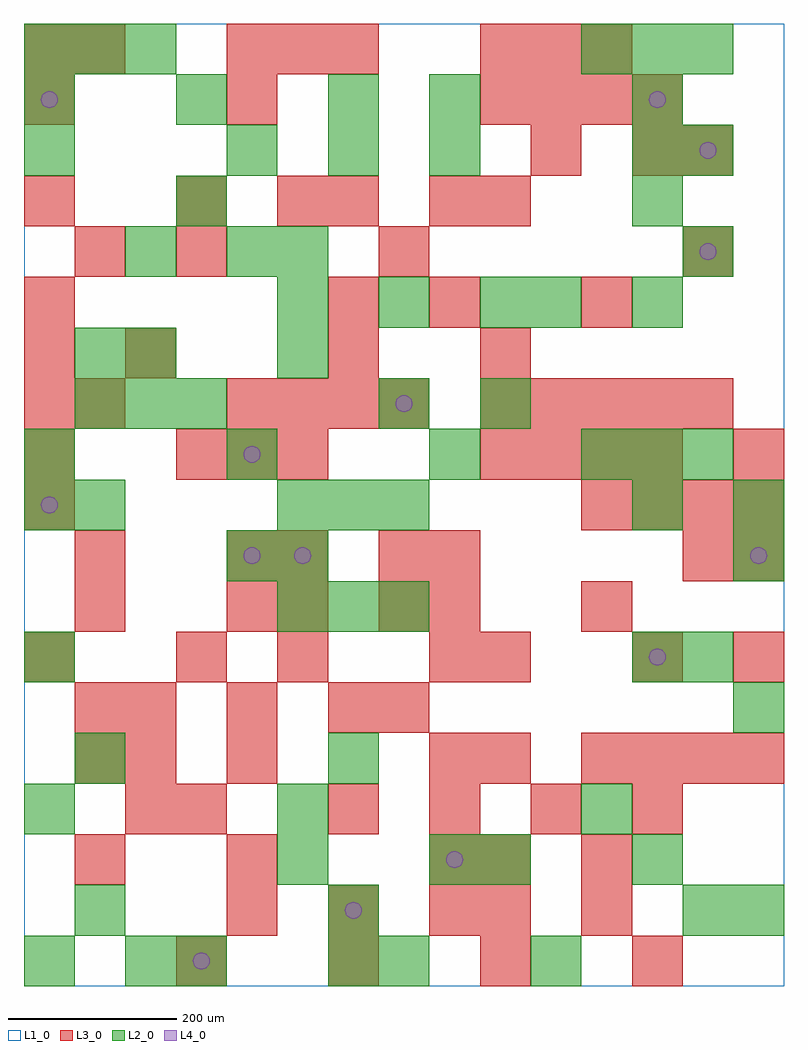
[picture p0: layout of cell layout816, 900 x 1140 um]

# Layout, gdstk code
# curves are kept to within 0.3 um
import gdstk
lib = gdstk.Library(unit=1e-6, precision=1e-09)
def R(c, l, rs):  # rectangles x0, y0, x1, y1
    for r in rs: c.add(gdstk.rectangle(r[:2], r[2:], *l))
def A(c, l, x, y, w, h, nx, ny, dx, dy):  # array of equal rectangles
    R(c, l, [(x+i*dx, y+j*dy, x+i*dx+w, y+j*dy+h) for i in range(nx) for j in range(ny)])
def P(c, l, *ps):  # polygons
    for p in ps: c.add(gdstk.Polygon(p, *l))
L1_0 = (1, 0)
L2_0 = (2, 0)
L3_0 = (3, 0)
L4_0 = (4, 0)

layout816 = lib.new_cell('layout816')
R(layout816, L1_0, [(0,0,900,1140)])
A(layout816, L2_0, 0, 0, 60, 60, 1, 4, 0, 180)
A(layout816, L2_0, 300, 420, 60, 60, 3, 2, 60, 120)
A(layout816, L2_0, 0, 600, 60, 60, 3, 1, 240, 0)
A(layout816, L2_0, 660, 600, 60, 60, 3, 2, 60, 480)
A(layout816, L2_0, 60, 660, 60, 60, 3, 1, 60, 0)
A(layout816, L2_0, 300, 780, 60, 60, 3, 1, 120, 0)
A(layout816, L2_0, 720, 900, 60, 60, 1, 3, 0, 60)
A(layout816, L2_0, 240, 960, 60, 60, 3, 1, 120, 0)
A(layout816, L2_0, 0, 1020, 60, 60, 3, 1, 180, 0)
A(layout816, L2_0, 0, 1080, 60, 60, 3, 1, 60, 0)
R(layout816, L2_0, [(120,0,180,60), (180,0,240,60), (360,0,420,60), (420,0,480,60), (600,0,660,60), (60,60,120,120), (360,60,420,120), (780,60,840,120), (840,60,900,120), (300,120,360,180), (480,120,540,180), (540,120,600,180), (720,120,780,180), (300,180,360,240), (660,180,720,240), (60,240,120,300), (360,240,420,300), (840,300,900,360), (720,360,780,420), (780,360,840,420), (240,480,300,540), (300,480,360,540), (840,480,900,540), (60,540,120,600), (720,540,780,600), (840,540,900,600), (420,660,480,720), (540,660,600,720), (60,720,120,780), (120,720,180,780), (300,720,360,780), (600,780,660,840), (720,780,780,840), (120,840,180,900), (240,840,300,900), (300,840,360,900), (780,840,840,900), (180,900,240,960), (0,960,60,1020), (780,960,840,1020), (480,1020,540,1080)])
A(layout816, L3_0, 180, 0, 60, 60, 4, 1, 180, 0)
A(layout816, L3_0, 240, 60, 60, 60, 3, 1, 120, 0)
A(layout816, L3_0, 480, 120, 60, 60, 1, 3, 0, 120)
A(layout816, L3_0, 540, 120, 60, 60, 1, 3, 0, 120)
A(layout816, L3_0, 360, 180, 60, 60, 4, 1, 120, 0)
A(layout816, L3_0, 660, 240, 60, 60, 4, 2, 60, 300)
A(layout816, L3_0, 120, 300, 60, 60, 3, 1, 120, 0)
A(layout816, L3_0, 300, 360, 60, 60, 1, 3, 0, 60)
A(layout816, L3_0, 840, 360, 60, 60, 1, 3, 0, 120)
A(layout816, L3_0, 60, 480, 60, 60, 1, 3, 0, 180)
A(layout816, L3_0, 0, 540, 60, 60, 1, 5, 0, 60)
A(layout816, L3_0, 180, 600, 60, 60, 3, 1, 60, 0)
A(layout816, L3_0, 540, 600, 60, 60, 4, 2, 60, 420)
A(layout816, L3_0, 240, 660, 60, 60, 4, 1, 60, 0)
A(layout816, L3_0, 540, 660, 60, 60, 5, 1, 60, 0)
A(layout816, L3_0, 240, 1080, 60, 60, 3, 1, 60, 0)
A(layout816, L3_0, 540, 1080, 60, 60, 3, 1, 60, 0)
R(layout816, L3_0, [(540,60,600,120), (660,60,720,120), (60,120,120,180), (240,120,300,180), (660,120,720,180), (120,180,180,240), (180,180,240,240), (60,240,120,300), (120,240,180,300), (240,240,300,300), (60,300,120,360), (420,300,480,360), (0,360,60,420), (180,360,240,420), (720,360,780,420), (60,420,120,480), (240,420,300,480), (420,420,480,480), (480,420,540,480), (660,420,720,480), (240,480,300,540), (420,480,480,540), (480,480,540,540), (780,480,840,540), (120,720,180,780), (360,720,420,780), (540,720,600,780), (360,780,420,840), (480,780,540,840), (660,780,720,840), (180,840,240,900), (420,840,480,900), (780,840,840,900), (0,900,60,960), (180,900,240,960), (300,900,360,960), (360,900,420,960), (480,900,540,960), (540,900,600,960), (600,960,660,1020), (720,960,780,1020), (780,960,840,1020), (0,1020,60,1080), (240,1020,300,1080), (0,1080,60,1140), (60,1080,120,1140)])
P(layout816, L4_0, [(40,570),(39.239,573.827),(37.071,577.071),(33.827,579.239),(30,580),(26.173,579.239),(22.929,577.071),(20.761,573.827),(20,570),(20.761,566.173),(22.929,562.929),(26.173,560.761),(30,560),(33.827,560.761),(37.071,562.929),(39.239,566.173)],
  [(40,1050),(39.239,1053.827),(37.071,1057.071),(33.827,1059.239),(30,1060),(26.173,1059.239),(22.929,1057.071),(20.761,1053.827),(20,1050),(20.761,1046.173),(22.929,1042.929),(26.173,1040.761),(30,1040),(33.827,1040.761),(37.071,1042.929),(39.239,1046.173)],
  [(220,30),(219.239,33.827),(217.071,37.071),(213.827,39.239),(210,40),(206.173,39.239),(202.929,37.071),(200.761,33.827),(200,30),(200.761,26.173),(202.929,22.929),(206.173,20.761),(210,20),(213.827,20.761),(217.071,22.929),(219.239,26.173)],
  [(280,510),(279.239,513.827),(277.071,517.071),(273.827,519.239),(270,520),(266.173,519.239),(262.929,517.071),(260.761,513.827),(260,510),(260.761,506.173),(262.929,502.929),(266.173,500.761),(270,500),(273.827,500.761),(277.071,502.929),(279.239,506.173)],
  [(280,630),(279.239,633.827),(277.071,637.071),(273.827,639.239),(270,640),(266.173,639.239),(262.929,637.071),(260.761,633.827),(260,630),(260.761,626.173),(262.929,622.929),(266.173,620.761),(270,620),(273.827,620.761),(277.071,622.929),(279.239,626.173)],
  [(340,510),(339.239,513.827),(337.071,517.071),(333.827,519.239),(330,520),(326.173,519.239),(322.929,517.071),(320.761,513.827),(320,510),(320.761,506.173),(322.929,502.929),(326.173,500.761),(330,500),(333.827,500.761),(337.071,502.929),(339.239,506.173)],
  [(400,90),(399.239,93.827),(397.071,97.071),(393.827,99.239),(390,100),(386.173,99.239),(382.929,97.071),(380.761,93.827),(380,90),(380.761,86.173),(382.929,82.929),(386.173,80.761),(390,80),(393.827,80.761),(397.071,82.929),(399.239,86.173)],
  [(460,690),(459.239,693.827),(457.071,697.071),(453.827,699.239),(450,700),(446.173,699.239),(442.929,697.071),(440.761,693.827),(440,690),(440.761,686.173),(442.929,682.929),(446.173,680.761),(450,680),(453.827,680.761),(457.071,682.929),(459.239,686.173)],
  [(520,150),(519.239,153.827),(517.071,157.071),(513.827,159.239),(510,160),(506.173,159.239),(502.929,157.071),(500.761,153.827),(500,150),(500.761,146.173),(502.929,142.929),(506.173,140.761),(510,140),(513.827,140.761),(517.071,142.929),(519.239,146.173)],
  [(760,390),(759.239,393.827),(757.071,397.071),(753.827,399.239),(750,400),(746.173,399.239),(742.929,397.071),(740.761,393.827),(740,390),(740.761,386.173),(742.929,382.929),(746.173,380.761),(750,380),(753.827,380.761),(757.071,382.929),(759.239,386.173)],
  [(760,1050),(759.239,1053.827),(757.071,1057.071),(753.827,1059.239),(750,1060),(746.173,1059.239),(742.929,1057.071),(740.761,1053.827),(740,1050),(740.761,1046.173),(742.929,1042.929),(746.173,1040.761),(750,1040),(753.827,1040.761),(757.071,1042.929),(759.239,1046.173)],
  [(820,870),(819.239,873.827),(817.071,877.071),(813.827,879.239),(810,880),(806.173,879.239),(802.929,877.071),(800.761,873.827),(800,870),(800.761,866.173),(802.929,862.929),(806.173,860.761),(810,860),(813.827,860.761),(817.071,862.929),(819.239,866.173)],
  [(820,990),(819.239,993.827),(817.071,997.071),(813.827,999.239),(810,1000),(806.173,999.239),(802.929,997.071),(800.761,993.827),(800,990),(800.761,986.173),(802.929,982.929),(806.173,980.761),(810,980),(813.827,980.761),(817.071,982.929),(819.239,986.173)],
  [(880,510),(879.239,513.827),(877.071,517.071),(873.827,519.239),(870,520),(866.173,519.239),(862.929,517.071),(860.761,513.827),(860,510),(860.761,506.173),(862.929,502.929),(866.173,500.761),(870,500),(873.827,500.761),(877.071,502.929),(879.239,506.173)])

lib.write_gds('layout816.gds')
